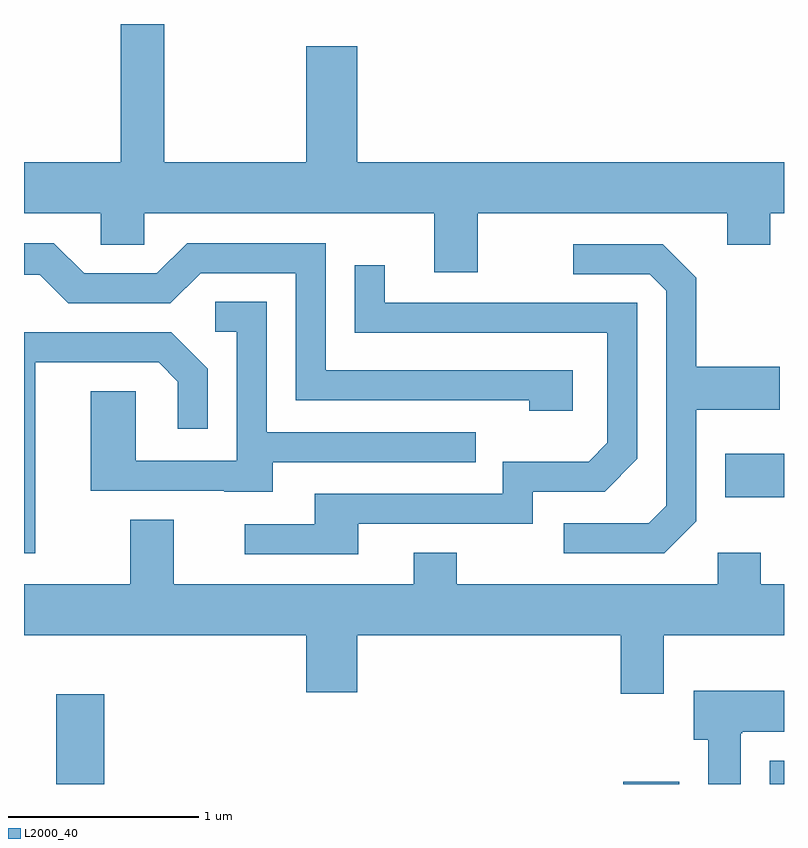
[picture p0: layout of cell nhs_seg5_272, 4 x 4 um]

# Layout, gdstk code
import gdstk
lib = gdstk.Library(unit=1e-6, precision=1e-09)
def R(c, l, rs):  # rectangles x0, y0, x1, y1
    for r in rs: c.add(gdstk.rectangle(r[:2], r[2:], *l))
def P(c, l, *ps):  # polygons
    for p in ps: c.add(gdstk.Polygon(p, *l))
L2000_40 = (2000, 40)

nhs_seg5_272 = lib.new_cell('nhs_seg5_272')
R(nhs_seg5_272, L2000_40, [(193.781,1396.072,194.034,1396.544), (196.766,1396.072,197.059,1396.084), (197.536,1396.072,197.611,1396.194), (197.301,1397.581,197.611,1397.809)])
P(nhs_seg5_272, L2000_40, [(195.999,1399.076),(197.311,1399.076),(197.311,1398.911),(197.539,1398.911),(197.539,1399.076),(197.611,1399.076),(197.611,1399.344),(195.364,1399.344),(195.364,1399.954),(195.096,1399.954),(195.096,1399.344),(194.349,1399.344),(194.349,1400.072),(194.121,1400.072),(194.121,1399.344),(193.611,1399.344),(193.611,1399.076),(194.016,1399.076),(194.016,1398.911),(194.244,1398.911),(194.244,1399.076),(195.771,1399.076),(195.771,1398.766),(195.999,1398.766)],
  [(196.499,1398.249),(195.199,1398.249),(195.199,1398.919),(194.469,1398.919),(194.309,1398.759),(193.927,1398.759),(193.767,1398.919),(193.611,1398.919),(193.611,1398.751),(193.694,1398.751),(193.844,1398.601),(194.382,1398.601),(194.542,1398.761),(195.041,1398.761),(195.041,1398.091),(196.271,1398.091),(196.271,1398.036),(196.499,1398.036)],
  [(197.149,1397.454),(197.149,1398.041),(197.589,1398.041),(197.589,1398.269),(197.149,1398.269),(197.149,1398.737),(196.972,1398.914),(196.503,1398.914),(196.503,1398.756),(196.904,1398.756),(196.991,1398.669),(196.991,1397.537),(196.899,1397.444),(196.453,1397.444),(196.453,1397.286),(196.982,1397.286)],
  [(195.369,1397.441),(196.289,1397.441),(196.289,1397.611),(196.667,1397.611),(196.839,1397.784),(196.839,1398.604),(195.509,1398.604),(195.509,1398.803),(195.351,1398.803),(195.351,1398.446),(196.681,1398.446),(196.681,1397.867),(196.584,1397.769),(196.131,1397.769),(196.131,1397.599),(195.141,1397.599),(195.141,1397.439),(194.773,1397.439),(194.773,1397.281),(195.369,1397.281)],
  [(194.919,1397.766),(195.988,1397.766),(195.988,1397.924),(194.889,1397.924),(194.889,1398.609),(194.618,1398.609),(194.618,1398.451),(194.731,1398.451),(194.731,1397.774),(194.199,1397.774),(194.199,1398.139),(193.961,1398.139),(193.961,1397.616),(194.665,1397.616),(194.665,1397.611),(194.919,1397.611)],
  [(193.669,1398.291),(194.319,1398.291),(194.421,1398.189),(194.421,1397.943),(194.579,1397.943),(194.579,1398.257),(194.387,1398.449),(193.611,1398.449),(193.611,1397.286),(193.669,1397.286)],
  [(196.979,1396.856),(197.611,1396.856),(197.611,1397.124),(197.489,1397.124),(197.489,1397.289),(197.261,1397.289),(197.261,1397.124),(195.889,1397.124),(195.889,1397.289),(195.661,1397.289),(195.661,1397.124),(194.399,1397.124),(194.399,1397.464),(194.171,1397.464),(194.171,1397.124),(193.611,1397.124),(193.611,1396.856),(195.096,1396.856),(195.096,1396.556),(195.364,1396.556),(195.364,1396.856),(196.751,1396.856),(196.751,1396.546),(196.979,1396.546)],
  [(197.384,1396.34),(197.39,1396.34),(197.39,1396.346),(197.611,1396.346),(197.611,1396.564),(197.136,1396.564),(197.136,1396.306),(197.211,1396.306),(197.211,1396.072),(197.384,1396.072)])

lib.write_gds('nhs_seg5_272.gds')
